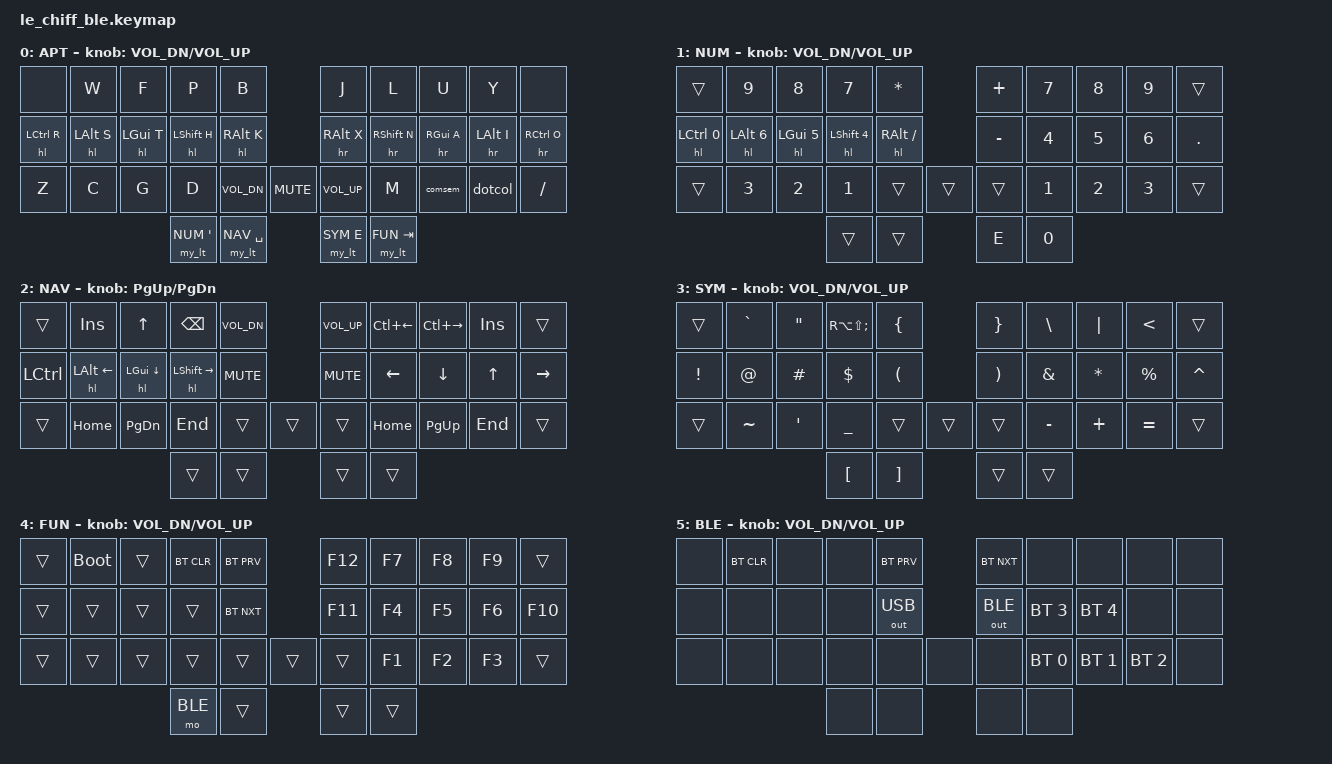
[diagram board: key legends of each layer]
#include "base_chiffre.h"

//  _____________________________       _____________________________
// /  0  |  1  |  2  |  3  |  4  \     /  5  |  6  |  7  |  8  |  9  \
// | 10  | 11  | 12  | 13  | 14  | ___ | 15  | 16  | 17  | 18  | 19  |
// \ 20  | 21  | 22  | 23  | 24  ||25 || 26  | 27  | 28  | 29  | 30 /
//         \   31    |    32     /     \    33     |   34    /
//          ---------------------       --------------------

/ {

    keymap {
        compatible = "zmk,keymap";

        aptmak {
            label = "APT";

            bindings = <
                &none          &kp W          &kp F          &kp P          &kp B                           &kp J          &kp L          &kp U          &kp Y          &none
                &hl LCTRL R    &hl LALT S     &hl LGUI T     &hl LSHFT H    &hl RALT K                      &hr RALT X     &hr RSHFT N    &hr RGUI A     &hr LALT I     &hr RCTRL O
                &kp Z          &kp C          &kp G          &kp D          &kp C_VOL_DN     &kp C_MUTE     &kp C_VOL_UP   &kp M          &comsem        &dotcol        &kp FSLH
                                                             &my_lt NUM SQT &my_lt NAV SPACE                &my_lt SYM E   &my_lt FUN TAB
            >;
			sensor-bindings = <&inc_dec_kp C_VOL_DN C_VOL_UP>;
        };
        numbers {
            label = "NUM";

            bindings = <
                &trans         &kp N9         &kp N8         &kp N7         &kp ASTERISK                  &kp PLUS       &kp N7         &kp N8         &kp N9         &trans
                &hl LCTRL N0   &hl LALT N6    &hl LGUI N5    &hl LSHFT N4   &hl RALT SLASH                &kp MINUS      &kp N4         &kp N5         &kp N6         &kp DOT
                &trans         &kp N3         &kp N2         &kp N1         &trans          &trans        &trans         &kp N1         &kp N2         &kp N3         &trans
                                                             &trans         &trans                        &kp E          &kp N0
            >;
			sensor-bindings = <&inc_dec_kp C_VOL_DN C_VOL_UP>;
        };
        navigation {
            label = "NAV";

            bindings = <
                &trans         &kp INSERT     &kp UP         &kp BSPC        &kp C_VOL_DN                 &kp C_VOL_UP   &kp LC(LEFT)   &kp LC(RIGHT)  &kp INSERT     &trans
                &kp LCTRL      &hl LALT LEFT  &hl LGUI DOWN  &hl LSHFT RIGHT &kp C_MUTE                   &kp C_MUTE     &kp LEFT       &kp DOWN       &kp UP         &kp RIGHT
                &trans         &kp HOME       &kp PG_DN      &kp END         &trans         &trans        &trans         &kp HOME       &kp PG_UP      &kp END        &trans
                                                             &trans          &trans                       &trans         &trans
            >;
			sensor-bindings = <&inc_dec_kp PG_UP PG_DN>;
        };
        symbols {
            label = "SYM";

            bindings = <
                &trans         &kp GRAVE      &kp DQT        &kp RA(LS(SEMI)) &kp LBRC                     &kp RBRC       &kp BACKSLASH  &kp PIPE       &kp LT         &trans
                &kp EXCL       &kp AT         &kp HASH       &kp DOLLAR       &kp LPAR                     &kp RPAR       &kp AMPERSAND  &kp ASTERISK   &kp PERCENT    &kp CARET
                &trans         &kp TILDE      &kp SQT        &kp UNDERSCORE   &trans        &trans         &trans         &kp MINUS      &kp PLUS       &kp EQUAL      &trans
                                                             &kp LBKT         &kp RBKT                     &trans         &trans
            >;
			sensor-bindings = <&inc_dec_kp C_VOL_DN C_VOL_UP>;
        };
        function {
            label = "FUN";

            bindings = <
                &trans         &bootloader    &trans         &bt BT_CLR     &bt BT_PRV                    &kp F12        &kp F7         &kp F8         &kp F9         &trans
                &trans         &trans         &trans         &trans         &bt BT_NXT                    &kp F11        &kp F4         &kp F5         &kp F6         &kp F10
                &trans         &trans         &trans         &trans         &trans         &trans         &trans         &kp F1         &kp F2         &kp F3         &trans
                                                             &mo BLE        &trans                        &trans         &trans
            >;
			sensor-bindings = <&inc_dec_kp C_VOL_DN C_VOL_UP>;
        };
        wireless {
            label = "BLE";

            bindings = <
                &none          &bt BT_CLR     &none          &none          &bt BT_PRV                    &bt BT_NXT     &none          &none          &none          &none
                &none          &none          &none          &none          &out OUT_USB                  &out OUT_BLE   &bt BT_SEL 3   &bt BT_SEL 4   &none          &none
                &none          &none          &none          &none          &none          &none          &none          &bt BT_SEL 0   &bt BT_SEL 1   &bt BT_SEL 2   &none
                                                             &none          &none                         &none          &none
            >;
			sensor-bindings = <&inc_dec_kp C_VOL_DN C_VOL_UP>;
        };

    };
};

//  _____________________________       _____________________________
// /  0  |  1  |  2  |  3  |  4  \     /  5  |  6  |  7  |  8  |  9  \
// | 10  | 11  | 12  | 13  | 14  | ___ | 15  | 16  | 17  | 18  | 19  |
// \ 20  | 21  | 22  | 23  | 24  ||25 || 26  | 27  | 28  | 29  | 30 /
//         \   31    |    32     /     \    33     |   34    /
//          ---------------------       --------------------
